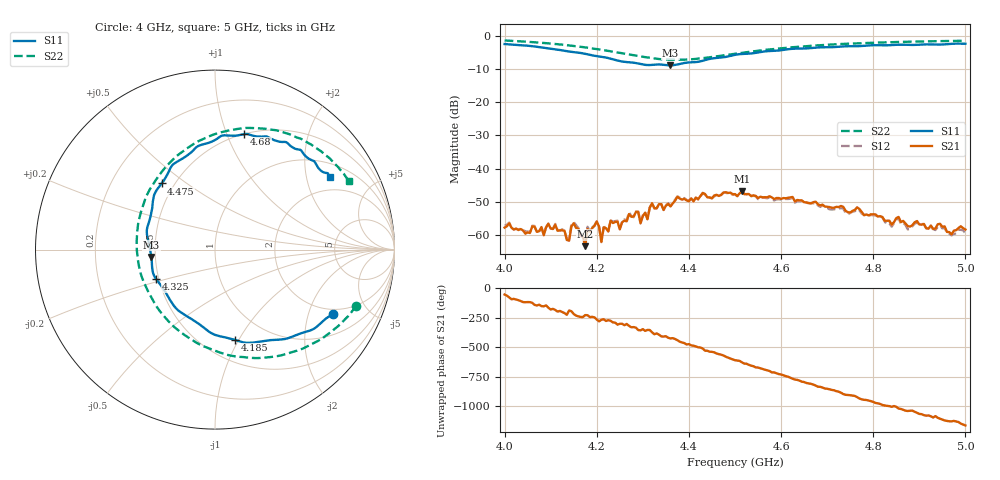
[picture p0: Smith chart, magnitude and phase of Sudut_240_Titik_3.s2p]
# Hz S RI R 50
! CMT, C1220, 16058040, 17.2.0/1
! Date: 15/08/2018 12:40:49
! Data: Format (Calibration Info)
! Freq  S11: Re/Im (F2)  S21: Re/Im (F2)  S12: Re/Im (F2)  S22: Re/Im (F2)
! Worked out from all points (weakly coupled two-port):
!   201 points, 4 GHz to 5 GHz, reference 50 ohm
!   highest |S21| = -46.81 dB at 4.515 GHz (marker M1); lowest = -63.3 dB at 4.175 GHz (marker M2)
!   lowest |S11| = -8.9 dB at 4.36 GHz (marker M3), VSWR 2.11, Z = 23.7 - j2.23 ohm
!   |S11| at or under -10 dB: nowhere
!   |S22| runs from -7.3 to -1.4 dB; largest |S21 - S12| = 0.00024
!   S11 on the Smith chart (normalised r, x): 4 GHz: 1.78, -2.90; 4.185 GHz: 0.70, -0.96; 4.325 GHz: 0.48, -0.19; 4.475 GHz: 0.43, +0.40; 4.68 GHz: 0.50, +1.15; 5 GHz: 1.46, +2.75
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4e9  0.656 -0.359  0.000771 -0.00104  0.000867 -0.00108  0.7866 -0.3136
4.11e9  0.3735 -0.5002  -0.00142 0.000111  -0.00147 5.49e-05  0.525 -0.5338
4.14e9  0.2703 -0.5096  -0.000814 0.000124  -0.000918 9.58e-05  0.4215 -0.5737
4.15e9  0.2316 -0.5154  -0.00118 0.000942  -0.00125 0.000957  0.3844 -0.5848
4.17e9  0.16 -0.5174  -0.000407 0.000839  -0.000407 0.000932  0.308 -0.5989
4.175e9  0.1437 -0.5132  -0.000458 0.000505  -0.000527 0.00055  0.2868 -0.6009
4.185e9  0.1111 -0.5031  -0.000482 0.00102  -0.000462 0.00105  0.2448 -0.6042
4.2e9  0.0556 -0.4887  -0.000126 0.0016  -0.000129 0.00161  0.1809 -0.6017
4.21e9  0.0178 -0.4803  -3.62e-05 0.000794  -0.000102 0.000776  0.137 -0.5974
4.23e9  -0.0451 -0.4481  0.000174 0.00164  0.000134 0.00167  0.048 -0.58
4.25e9  -0.1115 -0.3993  0.000635 0.00104  0.000624 0.00111  -0.0386 -0.549
4.27e9  -0.1882 -0.3508  0.00157 0.00135  0.00171 0.00141  -0.1243 -0.5056
4.325e9  -0.3264 -0.1659  0.0022 -0.00128  0.00214 -0.0013  -0.3253 -0.3169
4.335e9  -0.3443 -0.1336  0.00244 -0.00161  0.00242 -0.00164  -0.3511 -0.273
4.36e9  -0.3551 -0.041  0.00112 -0.00245  0.00121 -0.00248  -0.4067 -0.1565
4.475e9  -0.298 0.3684  -0.00376 0.00222  -0.00372 0.00228  -0.3384 0.3739
4.5e9  -0.2512 0.4488  -0.00139 0.00389  -0.0014 0.00386  -0.279 0.455
4.515e9  -0.229 0.4784  -0.000129 0.00456  -7.37e-05 0.00453  -0.2383 0.4981
4.67e9  0.1443 0.6397  -0.00039 -0.00311  -0.00046 -0.00297  0.2038 0.6777
4.68e9  0.1628 0.6438  -0.00124 -0.00263  -0.00123 -0.00251  0.2307 0.6766
4.835e9  0.4472 0.5617  0.000287 0.00162  0.000263 0.00148  0.5498 0.5759
5e9  0.6382 0.4035  0.000128 -0.00121  0.000183 -0.00105  0.7456 0.3834
